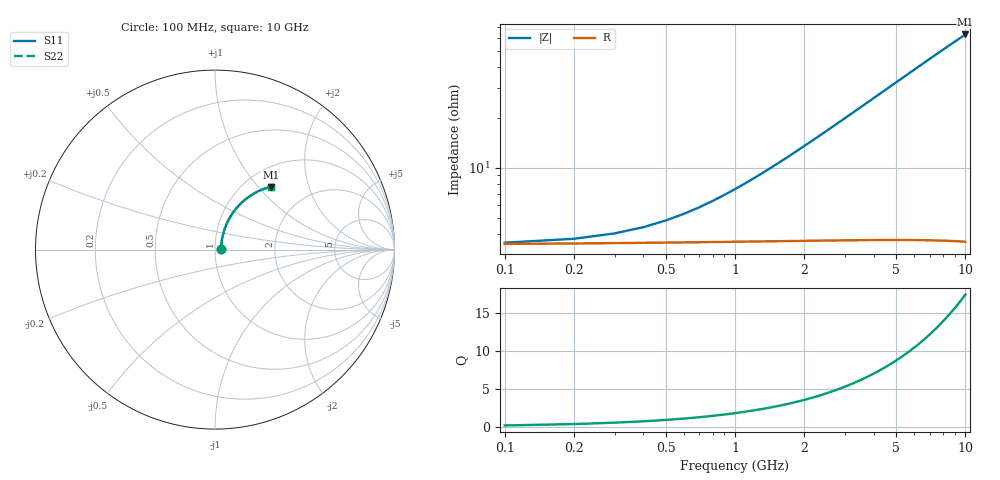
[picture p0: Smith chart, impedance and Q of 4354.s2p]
# Hz S RI R 50.00
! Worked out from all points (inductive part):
!   100 points, 100 MHz to 10 GHz, reference 50 ohm
!   read as one part in series: L = 1.03 nH near 1.7 GHz
!   highest Q = 17.5 at 10 GHz (marker M1), where L = 1 nH
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1e8  0.0337 0.00522  0.9663 -0.00693  0.9663 -0.00693  0.0337 0.00522
2e8  0.0341 0.0104  0.9659 -0.0139  0.9659 -0.0139  0.0341 0.0104
3e8  0.0344 0.0156  0.9656 -0.0208  0.9656 -0.0208  0.0344 0.0156
4e8  0.0348 0.0208  0.9652 -0.0277  0.9652 -0.0277  0.0348 0.0208
9e8  0.0377 0.0467  0.9622 -0.0621  0.9622 -0.0621  0.0377 0.0467
1.2e9  0.0402 0.0621  0.9596 -0.0827  0.9596 -0.0827  0.0402 0.0621
1.5e9  0.0433 0.0773  0.9563 -0.103  0.9563 -0.103  0.0433 0.0773
1.8e9  0.0471 0.0924  0.9524 -0.1232  0.9524 -0.1232  0.0471 0.0924
2.1e9  0.0515 0.1072  0.9478 -0.1432  0.9478 -0.1432  0.0515 0.1072
2.5e9  0.0583 0.1265  0.9408 -0.1694  0.9408 -0.1694  0.0583 0.1265
2.9e9  0.0661 0.1454  0.9326 -0.1951  0.9326 -0.1951  0.0661 0.1454
3.4e9  0.0772 0.1681  0.921 -0.2264  0.921 -0.2264  0.0772 0.1681
3.8e9  0.0871 0.1855  0.9107 -0.2507  0.9107 -0.2507  0.0871 0.1855
4.2e9  0.0979 0.2022  0.8994 -0.2744  0.8994 -0.2744  0.0979 0.2022
4.6e9  0.1094 0.2182  0.8873 -0.2972  0.8873 -0.2972  0.1094 0.2182
5.1e9  0.1249 0.237  0.8711 -0.3247  0.8711 -0.3247  0.1249 0.237
5.9e9  0.1517 0.2644  0.843 -0.366  0.843 -0.366  0.1517 0.2644
6.7e9  0.1805 0.2883  0.8126 -0.4038  0.8126 -0.4038  0.1805 0.2883
7.5e9  0.2108 0.3086  0.7805 -0.4381  0.7805 -0.4381  0.2108 0.3086
8.4e9  0.2461 0.3272  0.743 -0.4725  0.743 -0.4725  0.2461 0.3272
9.2e9  0.2781 0.34  0.7088 -0.4995  0.7088 -0.4995  0.2781 0.34
1e10  0.3101 0.3495  0.6744 -0.5232  0.6744 -0.5232  0.3101 0.3495
